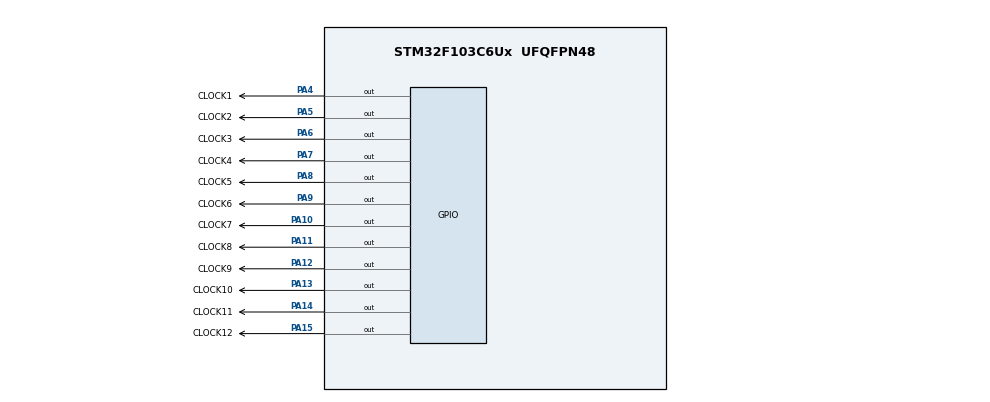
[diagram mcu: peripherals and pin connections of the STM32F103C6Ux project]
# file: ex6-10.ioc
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Mcu.Family=STM32F1
Mcu.Name=STM32F103C6Ux
Mcu.Package=UFQFPN48
NVIC.PriorityGroup=NVIC_PRIORITYGROUP_4
PA10.GPIO_Label=CLOCK7
PA10.Signal=GPIO_Output
PA11.GPIO_Label=CLOCK8
PA11.Signal=GPIO_Output
PA12.GPIO_Label=CLOCK9
PA12.Signal=GPIO_Output
PA13.GPIO_Label=CLOCK10
PA13.Signal=GPIO_Output
PA14.GPIO_Label=CLOCK11
PA14.Signal=GPIO_Output
PA15.GPIO_Label=CLOCK12
PA15.Signal=GPIO_Output
PA4.GPIO_Label=CLOCK1
PA4.Signal=GPIO_Output
PA5.GPIO_Label=CLOCK2
PA5.Signal=GPIO_Output
PA6.GPIO_Label=CLOCK3
PA6.Signal=GPIO_Output
PA7.GPIO_Label=CLOCK4
PA7.Signal=GPIO_Output
PA8.GPIO_Label=CLOCK5
PA8.Signal=GPIO_Output
PA9.GPIO_Label=CLOCK6
PA9.Signal=GPIO_Output
ProjectManager.HeapSize=0x200
ProjectManager.StackSize=0x400
ProjectManager.TargetToolchain=STM32CubeIDE
RCC.APB1Freq_Value=8000000
RCC.APB2Freq_Value=8000000
VP_SYS_VS_ND.Mode=No_Debug
board=custom

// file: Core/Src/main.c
/* USER CODE BEGIN Header */
/**
  ******************************************************************************
  * @file           : main.c
  * @brief          : Main program body - Lab 1 Exercise 6-10 (PA4 to PA15)
  ******************************************************************************
  * @attention
  *
  * Copyright (c) 2026 STMicroelectronics.
  * All rights reserved.
  *
  * This software component is licensed by ST under BSD 3-Clause license,
  * the "License"; You may not use this file except in compliance with the
  * License. You may obtain a copy of the License at:
  *                        opensource.org/licenses/BSD-3-Clause
  *
  ******************************************************************************
  */
/* USER CODE END Header */
#include "main.h"

/* USER CODE BEGIN PV */
// Khai báo biến thời gian (Bài 10)
int hour = 0;   // 0 đến 11
int minute = 0; // 0 đến 59
int second = 0; // 0 đến 59
/* USER CODE END PV */

void SystemClock_Config(void);
static void MX_GPIO_Init(void);

/* USER CODE BEGIN PFP */
void clearAllClock(void);
void setNumberOnClock(int num);
void clearNumberOnClock(int num);
/* USER CODE END PFP */

int main(void)
{

  /* MCU Configuration--------------------------------------------------------*/

  /* Reset of all peripherals, Initializes the Flash interface and the Systick. */
  HAL_Init();

  /* Configure the system clock */
  SystemClock_Config();

  /* Initialize all configured peripherals */
  MX_GPIO_Init();

  /* USER CODE BEGIN 2 */
  // Ban đầu tắt sạch 12 LED
  clearAllClock();
  /* USER CODE END 2 */

  /* Infinite loop */
  while (1)
  {

    /* USER CODE BEGIN 3 */
    // 1. Tắt hết tất cả LED hiện tại
    clearAllClock();

    // 2. Bật LED cho Kim Giờ, Kim Phút, Kim Giây
    setNumberOnClock(hour % 12);
    setNumberOnClock(minute / 5);
    setNumberOnClock(second / 5);

    // 3. Chờ 1 giây và cập nhật đồng hồ
    HAL_Delay(10);

    second++;
    if (second >= 60)
    {
      second = 0;
      minute++;
      if (minute >= 60)
      {
        minute = 0;
        hour++;
        if (hour >= 12)
        {
          hour = 0;
        }
      }
    }
  }
  /* USER CODE END 3 */
}

/* USER CODE BEGIN 4 */

/**
  * @brief  Bài 7: Tắt toàn bộ 12 LED từ PA4 đến PA15
  */
void clearAllClock(void)
{
  HAL_GPIO_WritePin(GPIOA,
    GPIO_PIN_4  | GPIO_PIN_5  | GPIO_PIN_6  | GPIO_PIN_7  |
    GPIO_PIN_8  | GPIO_PIN_9  | GPIO_PIN_10 | GPIO_PIN_11 |
    GPIO_PIN_12 | GPIO_PIN_13 | GPIO_PIN_14 | GPIO_PIN_15,
    GPIO_PIN_RESET);
}

/**
  * @brief  Bài 8: Bật LED tại vị trí chỉ định (num từ 0 đến 11)
  *         num = 0 tương ứng với PA4 (12h)
  */
void setNumberOnClock(int num)
{
  if (num >= 0 && num <= 11)
  {
    HAL_GPIO_WritePin(GPIOA, (uint16_t)(GPIO_PIN_4 << num), GPIO_PIN_SET);
  }
}

/**
  * @brief  Bài 9: Tắt LED tại vị trí chỉ định (num từ 0 đến 11)
  *         num = 0 tương ứng với PA4 (12h)
  */
void clearNumberOnClock(int num)
{
  if (num >= 0 && num <= 11)
  {
    HAL_GPIO_WritePin(GPIOA, (uint16_t)(GPIO_PIN_4 << num), GPIO_PIN_RESET);
  }
}

/* USER CODE END 4 */

void SystemClock_Config(void)
{
  RCC_OscInitTypeDef RCC_OscInitStruct = {0};
  RCC_ClkInitTypeDef RCC_ClkInitStruct = {0};

  RCC_OscInitStruct.OscillatorType = RCC_OSCILLATORTYPE_HSI;
  RCC_OscInitStruct.HSIState = RCC_HSI_ON;
  RCC_OscInitStruct.HSICalibrationValue = RCC_HSICALIBRATION_DEFAULT;
  RCC_OscInitStruct.PLL.PLLState = RCC_PLL_NONE;
  if (HAL_RCC_OscConfig(&RCC_OscInitStruct) != HAL_OK)
  {
    Error_Handler();
  }

  RCC_ClkInitStruct.ClockType = RCC_CLOCKTYPE_HCLK|RCC_CLOCKTYPE_SYSCLK
                              |RCC_CLOCKTYPE_PCLK1|RCC_CLOCKTYPE_PCLK2;
  RCC_ClkInitStruct.SYSCLKSource = RCC_SYSCLKSOURCE_HSI;
  RCC_ClkInitStruct.AHBCLKDivider = RCC_SYSCLK_DIV1;
  RCC_ClkInitStruct.APB1CLKDivider = RCC_HCLK_DIV1;
  RCC_ClkInitStruct.APB2CLKDivider = RCC_HCLK_DIV1;

  if (HAL_RCC_ClockConfig(&RCC_ClkInitStruct, FLASH_LATENCY_0) != HAL_OK)
  {
    Error_Handler();
  }
}

static void MX_GPIO_Init(void)
{
  GPIO_InitTypeDef GPIO_InitStruct = {0};

  /* GPIO Ports Clock Enable */
  __HAL_RCC_GPIOA_CLK_ENABLE();

  /* Ban đầu TẮT tất cả 12 LED từ PA4 đến PA15 (Active HIGH -> RESET = Tắt) */
  HAL_GPIO_WritePin(GPIOA,
    GPIO_PIN_4  | GPIO_PIN_5  | GPIO_PIN_6  | GPIO_PIN_7  |
    GPIO_PIN_8  | GPIO_PIN_9  | GPIO_PIN_10 | GPIO_PIN_11 |
    GPIO_PIN_12 | GPIO_PIN_13 | GPIO_PIN_14 | GPIO_PIN_15,
    GPIO_PIN_RESET);

  /* Cấu hình các chân PA4 -> PA15 làm Output Push-Pull */
  GPIO_InitStruct.Pin =
    GPIO_PIN_4  | GPIO_PIN_5  | GPIO_PIN_6  | GPIO_PIN_7  |
    GPIO_PIN_8  | GPIO_PIN_9  | GPIO_PIN_10 | GPIO_PIN_11 |
    GPIO_PIN_12 | GPIO_PIN_13 | GPIO_PIN_14 | GPIO_PIN_15;
  GPIO_InitStruct.Mode = GPIO_MODE_OUTPUT_PP;
  GPIO_InitStruct.Pull = GPIO_NOPULL;
  GPIO_InitStruct.Speed = GPIO_SPEED_FREQ_LOW;
  HAL_GPIO_Init(GPIOA, &GPIO_InitStruct);
}

void Error_Handler(void)
{
  __disable_irq();
  while (1)
  {
  }
}
